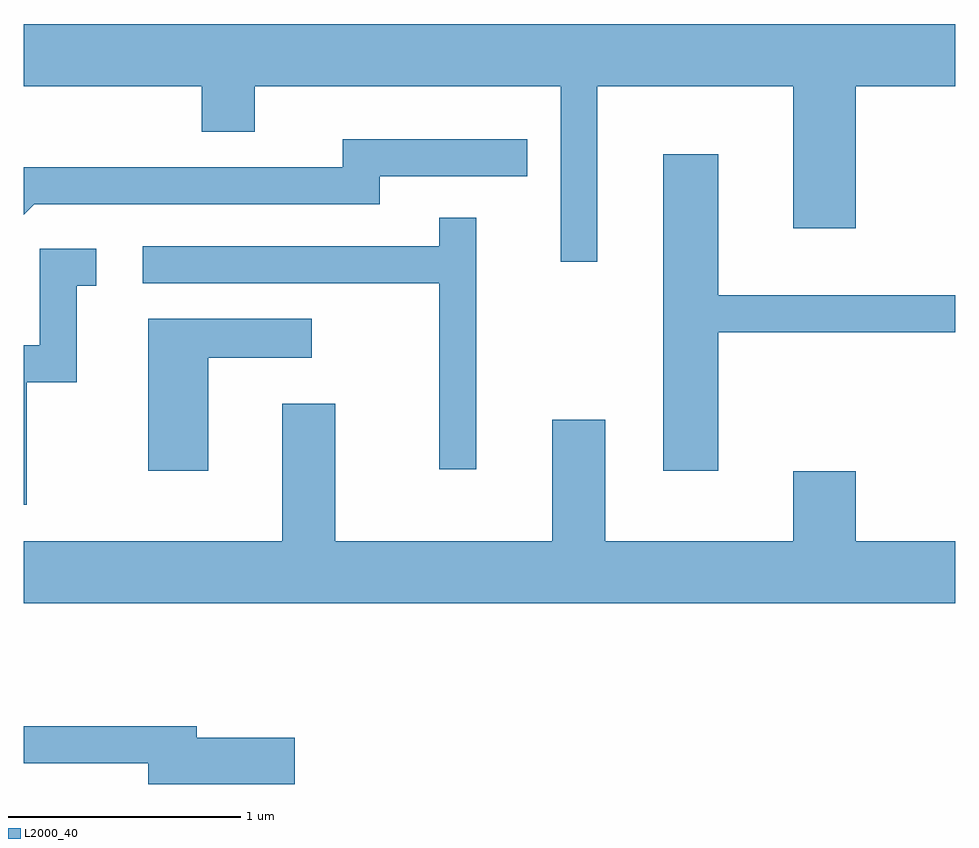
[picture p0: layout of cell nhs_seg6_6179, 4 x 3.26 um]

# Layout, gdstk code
import gdstk
lib = gdstk.Library(unit=1e-6, precision=1e-09)
def P(c, l, *ps):  # polygons
    for p in ps: c.add(gdstk.Polygon(p, *l))
L2000_40 = (2000, 40)

nhs_seg6_6179 = lib.new_cell('nhs_seg6_6179')
P(nhs_seg6_6179, L2000_40, [(374.074,1665.476),(374.916,1665.476),(374.916,1664.866),(375.184,1664.866),(375.184,1665.476),(375.611,1665.476),(375.611,1665.744),(371.611,1665.744),(371.611,1665.476),(372.376,1665.476),(372.376,1665.281),(372.604,1665.281),(372.604,1665.476),(373.916,1665.476),(373.916,1664.723),(374.074,1664.723)],
  [(371.657,1664.971),(373.139,1664.971),(373.139,1665.091),(373.773,1665.091),(373.773,1665.249),(372.981,1665.249),(372.981,1665.129),(371.611,1665.129),(371.611,1664.925)],
  [(374.594,1664.421),(375.611,1664.421),(375.611,1664.579),(374.594,1664.579),(374.594,1665.184),(374.356,1665.184),(374.356,1663.826),(374.594,1663.826)],
  [(373.554,1664.913),(373.396,1664.913),(373.396,1664.789),(372.123,1664.789),(372.123,1664.631),(373.396,1664.631),(373.396,1663.833),(373.554,1663.833)],
  [(371.624,1664.206),(371.839,1664.206),(371.839,1664.621),(371.923,1664.621),(371.923,1664.779),(371.681,1664.779),(371.681,1664.364),(371.611,1664.364),(371.611,1663.681),(371.624,1663.681)],
  [(372.404,1664.311),(372.848,1664.311),(372.848,1664.479),(372.146,1664.479),(372.146,1663.826),(372.404,1663.826)],
  [(375.611,1663.524),(375.184,1663.524),(375.184,1663.824),(374.916,1663.824),(374.916,1663.524),(374.109,1663.524),(374.109,1664.044),(373.881,1664.044),(373.881,1663.524),(372.949,1663.524),(372.949,1664.114),(372.721,1664.114),(372.721,1663.524),(371.611,1663.524),(371.611,1663.256),(375.611,1663.256)],
  [(372.774,1662.679),(372.354,1662.679),(372.354,1662.729),(371.611,1662.729),(371.611,1662.571),(372.146,1662.571),(372.146,1662.481),(372.774,1662.481)])

lib.write_gds('nhs_seg6_6179.gds')
